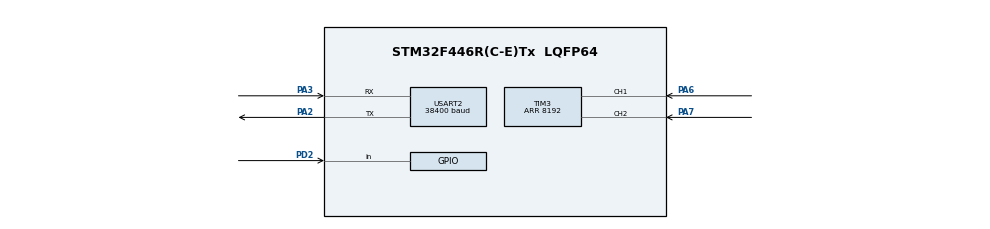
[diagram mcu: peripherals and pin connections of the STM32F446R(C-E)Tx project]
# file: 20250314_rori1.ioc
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Mcu.Family=STM32F4
Mcu.Name=STM32F446R(C-E)Tx
Mcu.Package=LQFP64
NVIC.PriorityGroup=NVIC_PRIORITYGROUP_4
NVIC.TIM3_IRQn=true\:0\:0\:false\:false\:true\:true\:true\:true
PA2.Mode=Asynchronous
PA2.Signal=USART2_TX
PA3.Mode=Asynchronous
PA3.Signal=USART2_RX
PA6.Signal=S_TIM3_CH1
PA7.Signal=S_TIM3_CH2
PD2.Signal=GPIO_Input
ProjectManager.HeapSize=0x200
ProjectManager.StackSize=0x400
ProjectManager.TargetToolchain=STM32CubeIDE
RCC.CortexFreq_Value=16000000
RCC.USBFreq_Value=96000000
RCC.VCOOutputFreq_Value=192000000
SH.S_TIM3_CH1.0=TIM3_CH1,Encoder_Interface
SH.S_TIM3_CH2.0=TIM3_CH2,Encoder_Interface
TIM3.EncoderMode=TIM_ENCODERMODE_TI12
TIM3.Period=8192
USART2.BaudRate=38400
USART2.VirtualMode=VM_ASYNC
board=custom

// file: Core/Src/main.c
/* USER CODE BEGIN Header */
/**
  ******************************************************************************
  * @file           : main.c
  * @brief          : Main program body
  ******************************************************************************
  * @attention
  *
  * Copyright (c) 2025 STMicroelectronics.
  * All rights reserved.
  *
  * This software is licensed under terms that can be found in the LICENSE file
  * in the root directory of this software component.
  * If no LICENSE file comes with this software, it is provided AS-IS.
  *
  ******************************************************************************
  */
/* USER CODE END Header */
#include "main.h"

/* USER CODE BEGIN Includes */
#include "manydef.h"
#include "STprintf.h"
#include <stdio.h>
#include <string.h>
/* USER CODE END Includes */

TIM_HandleTypeDef htim3;

UART_HandleTypeDef huart2;

void SystemClock_Config(void);
static void MX_GPIO_Init(void);
static void MX_USART2_UART_Init(void);
static void MX_TIM3_Init(void);

/* USER CODE BEGIN 0 */
int over = 0;

void HAL_TIM_PeriodElapsedCallback(TIM_HandleTypeDef* htim){
//	printf("over %d ",over);
	if(htim->Instance == TIM3){
		__HAL_TIM_CLEAR_FLAG(&htim3,TIM_IT_UPDATE);
		if(__HAL_TIM_IS_TIM_COUNTING_DOWN(&htim3)){
			over--;
		}else{
			over++;
		}
	}
}
/* USER CODE END 0 */

int main(void)
{

  /* MCU Configuration--------------------------------------------------------*/

  /* Reset of all peripherals, Initializes the Flash interface and the Systick. */
  HAL_Init();

  /* Configure the system clock */
  SystemClock_Config();

  /* Initialize all configured peripherals */
  MX_GPIO_Init();
  MX_USART2_UART_Init();
  MX_TIM3_Init();
  /* USER CODE BEGIN 2 */
  STprintf(&huart2);
  HAL_TIM_Encoder_Start(&htim3, TIMCH_ALL);
  HAL_TIM_Base_Start_IT(&htim3);
  int count;
  float deg;
  over = 0;
//  char scount[100];
  /* USER CODE END 2 */

  /* Infinite loop */
  /* USER CODE BEGIN WHILE */
  while (1)
  {
//	  count = TIM3 -> CNT;
	  count = (long)(over * 8192) + (long)TIM3 -> CNT;
	  deg = ((float)count / 8192) * 360;
	  while(deg > 360){
		  deg = deg - 360;
	  }
	  while(deg < 0){
		  deg = deg + 360;
	  }
//	  printf("%d\r\n",count);
	  printf("%f\r\n",deg);
	  HAL_Delay(100);
    /* USER CODE END WHILE */

    /* USER CODE BEGIN 3 */
//	  printf("SNCT\r\n");
//	  HAL_Delay(500);
	  if(HAL_GPIO_ReadPin(GPIOxD, GPIO_Pin_2) == 0){
//		  count = 0;
//		  over = 0;
//		  deg = 0;
		  TIM3 -> CNT = 0;
		  over = 0;
		  printf("reseted!! ");
	  }
  }
  /* USER CODE END 3 */
}

void SystemClock_Config(void)
{
  RCC_OscInitTypeDef RCC_OscInitStruct = {0};
  RCC_ClkInitTypeDef RCC_ClkInitStruct = {0};

  /** Configure the main internal regulator output voltage
  */
  __HAL_RCC_PWR_CLK_ENABLE();
  __HAL_PWR_VOLTAGESCALING_CONFIG(PWR_REGULATOR_VOLTAGE_SCALE3);

  /** Initializes the RCC Oscillators according to the specified parameters
  * in the RCC_OscInitTypeDef structure.
  */
  RCC_OscInitStruct.OscillatorType = RCC_OSCILLATORTYPE_HSI;
  RCC_OscInitStruct.HSIState = RCC_HSI_ON;
  RCC_OscInitStruct.HSICalibrationValue = RCC_HSICALIBRATION_DEFAULT;
  RCC_OscInitStruct.PLL.PLLState = RCC_PLL_NONE;
  if (HAL_RCC_OscConfig(&RCC_OscInitStruct) != HAL_OK)
  {
    Error_Handler();
  }

  /** Initializes the CPU, AHB and APB buses clocks
  */
  RCC_ClkInitStruct.ClockType = RCC_CLOCKTYPE_HCLK|RCC_CLOCKTYPE_SYSCLK
                              |RCC_CLOCKTYPE_PCLK1|RCC_CLOCKTYPE_PCLK2;
  RCC_ClkInitStruct.SYSCLKSource = RCC_SYSCLKSOURCE_HSI;
  RCC_ClkInitStruct.AHBCLKDivider = RCC_SYSCLK_DIV1;
  RCC_ClkInitStruct.APB1CLKDivider = RCC_HCLK_DIV1;
  RCC_ClkInitStruct.APB2CLKDivider = RCC_HCLK_DIV1;

  if (HAL_RCC_ClockConfig(&RCC_ClkInitStruct, FLASH_LATENCY_0) != HAL_OK)
  {
    Error_Handler();
  }
}

static void MX_TIM3_Init(void)
{

  TIM_Encoder_InitTypeDef sConfig = {0};
  TIM_MasterConfigTypeDef sMasterConfig = {0};

  htim3.Instance = TIM3;
  htim3.Init.Prescaler = 0;
  htim3.Init.CounterMode = TIM_COUNTERMODE_UP;
  htim3.Init.Period = 8192;
  htim3.Init.ClockDivision = TIM_CLOCKDIVISION_DIV1;
  htim3.Init.AutoReloadPreload = TIM_AUTORELOAD_PRELOAD_DISABLE;
  sConfig.EncoderMode = TIM_ENCODERMODE_TI12;
  sConfig.IC1Polarity = TIM_ICPOLARITY_RISING;
  sConfig.IC1Selection = TIM_ICSELECTION_DIRECTTI;
  sConfig.IC1Prescaler = TIM_ICPSC_DIV1;
  sConfig.IC1Filter = 0;
  sConfig.IC2Polarity = TIM_ICPOLARITY_RISING;
  sConfig.IC2Selection = TIM_ICSELECTION_DIRECTTI;
  sConfig.IC2Prescaler = TIM_ICPSC_DIV1;
  sConfig.IC2Filter = 0;
  if (HAL_TIM_Encoder_Init(&htim3, &sConfig) != HAL_OK)
  {
    Error_Handler();
  }
  sMasterConfig.MasterOutputTrigger = TIM_TRGO_RESET;
  sMasterConfig.MasterSlaveMode = TIM_MASTERSLAVEMODE_DISABLE;
  if (HAL_TIMEx_MasterConfigSynchronization(&htim3, &sMasterConfig) != HAL_OK)
  {
    Error_Handler();
  }

}

static void MX_USART2_UART_Init(void)
{

  huart2.Instance = USART2;
  huart2.Init.BaudRate = 38400;
  huart2.Init.WordLength = UART_WORDLENGTH_8B;
  huart2.Init.StopBits = UART_STOPBITS_1;
  huart2.Init.Parity = UART_PARITY_NONE;
  huart2.Init.Mode = UART_MODE_TX_RX;
  huart2.Init.HwFlowCtl = UART_HWCONTROL_NONE;
  huart2.Init.OverSampling = UART_OVERSAMPLING_16;
  if (HAL_UART_Init(&huart2) != HAL_OK)
  {
    Error_Handler();
  }

}

static void MX_GPIO_Init(void)
{
  GPIO_InitTypeDef GPIO_InitStruct = {0};

  /* GPIO Ports Clock Enable */
  __HAL_RCC_GPIOA_CLK_ENABLE();
  __HAL_RCC_GPIOD_CLK_ENABLE();

  /*Configure GPIO pin : PD2 */
  GPIO_InitStruct.Pin = GPIO_PIN_2;
  GPIO_InitStruct.Mode = GPIO_MODE_INPUT;
  GPIO_InitStruct.Pull = GPIO_NOPULL;
  HAL_GPIO_Init(GPIOD, &GPIO_InitStruct);

}

void Error_Handler(void)
{
  __disable_irq();
  while (1)
  {
  }
}
